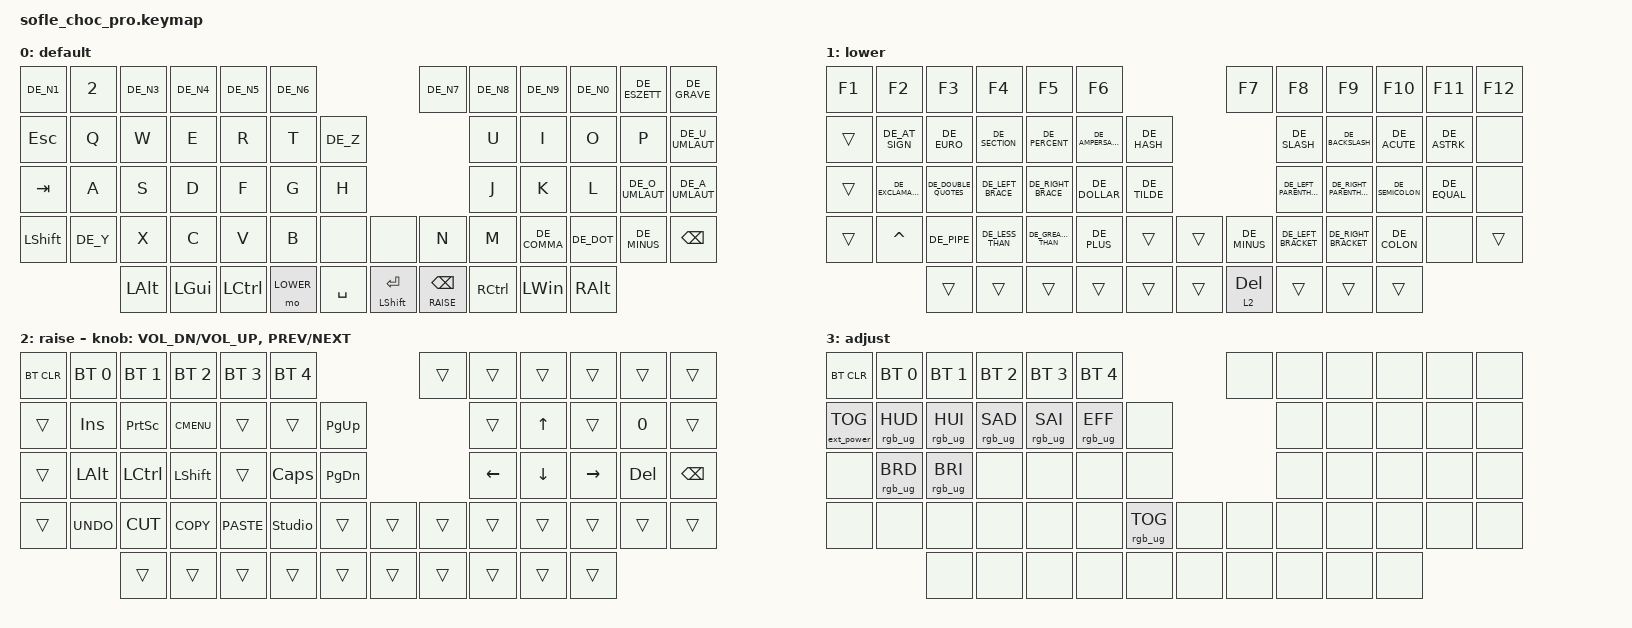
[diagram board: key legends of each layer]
/*
* Copyright (c) 2020 The ZMK Contributors
*
* SPDX-License-Identifier: MIT
*/

#include <behaviors.dtsi>
#include <dt-bindings/zmk/bt.h>
#include <dt-bindings/zmk/ext_power.h>
#include <dt-bindings/zmk/keys.h>
#include <dt-bindings/zmk/rgb.h>
#include "keys_de.h"

#define BASE 0
#define LOWER 1
#define RAISE 2
#define ADJUST 3

/ {
    // Activate ADJUST layer by pressing raise and lower

    conditional_layers {
        compatible = "zmk,conditional-layers";

        adjust_layer {
            if-layers = <LOWER RAISE>;
            then-layer = <ADJUST>;
        };
    };

    behaviors {
        tap_hold: tap_hold {
            compatible = "zmk,behavior-hold-tap";
            label = "tap_hold";
            bindings = <&kp>, <&kp>;

            #binding-cells = <2>;
            tapping-term-ms = <140>;
            flavor = "hold-preferred";
            hold-trigger-key-positions = <55>;
        };

        hold_tap_mod: hold_tap_mod {
            compatible = "zmk,behavior-hold-tap";
            label = "HOLD_TAP_MOD";
            bindings = <&mo>, <&kp>;

            #binding-cells = <2>;
            tapping-term-ms = <140>;
        };
    };

    keymap {
        compatible = "zmk,keymap";

        default_layer {
            display-name = "default";

            // ------------------------------------------------------------------------------------------------------------
            // |   `   |  1  |  2  |  3   |  4   |  5   |                   |  6   |  7    |  8    |  9   |   0   |   `   |
            // |  ESC  |  Q  |  W  |  E   |  R   |  T   |                   |  Y   |  U    |  I    |  O   |   P   | BKSPC |
            // |  TAB  |  A  |  S  |  D   |  F   |  G   |                   |  H   |  J    |  K    |  L   |   ;   |   '   |
            // | SHIFT |  Z  |  X  |  C   |  V   |  B   |  MUTE  |  | PLAY  |  N   |  M    |  ,    |  .   |   /   | SHIFT |
            //               | GUI | ALT  | CTRL | LOWER|  ENTER |  | SPACE | RAISE| CTRL  | ALT   | GUI  |

            bindings = <
&kp DE_N1  &kp N2    &kp DE_N3     &kp DE_N4  &kp DE_N5         &kp DE_N6                                          &kp DE_N7                      &kp DE_N8  &kp DE_N9     &kp DE_N0      &kp DE_ESZETT    &kp DE_GRAVE
&kp ESC    &kp Q     &kp W         &kp E      &kp R             &kp T      &kp DE_Z                                                               &kp U      &kp I         &kp O          &kp P            &kp DE_U_UMLAUT
&kp TAB    &kp A     &kp S         &kp D      &kp F             &kp G      &kp H                                                                  &kp J      &kp K         &kp L          &kp DE_O_UMLAUT  &kp DE_A_UMLAUT
&kp LSHFT  &kp DE_Y  &kp X         &kp C      &kp V             &kp B      &none      &none                        &kp N                          &kp M      &kp DE_COMMA  &kp DE_DOT     &kp DE_MINUS     &kp BACKSPACE
                     &kp LEFT_ALT  &kp LGUI   &kp LEFT_CONTROL  &mo LOWER  &kp SPACE  &tap_hold LEFT_SHIFT RETURN  &hold_tap_mod RAISE BACKSPACE  &kp RCTRL  &kp LEFT_WIN  &kp RIGHT_ALT
            >;
        };

        lower_layer {
            display-name = "lower";

            // ------------------------------------------------------------------------------------------------------------
            // |       |  F1 |  F2 |  F3  |  F4  |  F5  |                   |  F6  |  F7   |  F8   |  F9  |  F10  |  F11  |
            // |   `   |  1  |  2  |  3   |  4   |  5   |                   |  6   |  7    |  8    |  9   |   0   |  F12  |
            // |       |  !  |  @  |  #   |  $   |  %   |                   |  ^   |  &    |  *    |  (   |   )   |   |   |
            // |       |  =  |  -  |  +   |  {   |  }   |        |  |       |  [   |  ]    |  ;    |  :   |   \   |       |
            //               |     |      |      |      |        |  |       |      |       |       |      |

            bindings = <
&kp F1  &kp F2              &kp F3                &kp F4             &kp F5               &kp F6                                  &kp F7                  &kp F8                   &kp F9                    &kp F10           &kp F11       &kp F12
&trans  &kp DE_AT_SIGN      &kp DE_EURO           &kp DE_SECTION     &kp DE_PERCENT       &kp DE_AMPERSAND  &kp DE_HASH                                   &kp DE_SLASH             &kp DE_BACKSLASH          &kp DE_ACUTE      &kp DE_ASTRK  &none
&trans  &kp DE_EXCLAMATION  &kp DE_DOUBLE_QUOTES  &kp DE_LEFT_BRACE  &kp DE_RIGHT_BRACE   &kp DE_DOLLAR     &kp DE_TILDE                                  &kp DE_LEFT_PARENTHESIS  &kp DE_RIGHT_PARENTHESIS  &kp DE_SEMICOLON  &kp DE_EQUAL  &none
&trans  &kp CARET           &kp DE_PIPE           &kp DE_LESS_THAN   &kp DE_GREATER_THAN  &kp DE_PLUS       &trans        &trans  &kp DE_MINUS            &kp DE_LEFT_BRACKET      &kp DE_RIGHT_BRACKET      &kp DE_COLON      &none         &trans
                            &trans                &trans             &trans               &trans            &trans        &trans  &hold_tap_mod 2 DELETE  &trans                   &trans                    &trans
            >;
        };

        raise_layer {
            display-name = "raise";

            // ------------------------------------------------------------------------------------------------------------
            // | BTCLR | BT1  | BT2  |  BT3  |  BT4  |  BT5 |                |      |      |       |      |       |       |
            // |       | INS  | PSCR | GUI   |       |      |                | PGUP |      |   ^   |      |       |       |
            // |       | ALT  | CTRL | SHIFT |       | CAPS |                | PGDN |   <- |   v   |  ->  |  DEL  | BKSPC |
            // |       | UNDO | CUT  | COPY  | PASTE |      |      |  |      |      |      |       |      |       |       |
            //                |      |       |       |      |      |  |      |      |      |       |      |

            bindings = <
&bt BT_CLR  &bt BT_SEL 0  &bt BT_SEL 1  &bt BT_SEL 2  &bt BT_SEL 3  &bt BT_SEL 4                       &trans  &trans    &trans    &trans     &trans   &trans
&trans      &kp INS       &kp PSCRN     &kp K_CMENU   &trans        &trans          &kp PG_UP                  &trans    &kp UP    &trans     &kp N0   &trans
&trans      &kp LALT      &kp LCTRL     &kp LSHFT     &trans        &kp CLCK        &kp PG_DN                  &kp LEFT  &kp DOWN  &kp RIGHT  &kp DEL  &kp BSPC
&trans      &kp K_UNDO    &kp K_CUT     &kp K_COPY    &kp K_PASTE   &studio_unlock  &trans     &trans  &trans  &trans    &trans    &trans     &trans   &trans
                          &trans        &trans        &trans        &trans          &trans     &trans  &trans  &trans    &trans    &trans
            >;

            sensor-bindings = <&inc_dec_kp C_VOL_DN C_VOL_UP &inc_dec_kp C_PREV C_NEXT>;
        };

        adjust_layer {
            // ----------------------------------------------------------------------------------------------------------------------------
            // | BTCLR  |  BT1    |  BT2    |   BT3   |   BT4   |   BT5   |                  |      |      |       |      |       |       |
            // | EXTPWR | RGB_HUD | RGB_HUI | RGB_SAD | RGB_SAI | RGB_EFF |                  |      |      |       |      |       |       |
            // |        | RGB_BRD | RGB_BRI |         |         |         |                  |      |      |       |      |       |       |
            // |        |         |         |         |         |         | RGB_TOG | |      |      |      |       |      |       |       |
            //                    |         |         |         |         |         | |      |      |      |       |      |

            display-name = "adjust";
            bindings = <
&bt BT_CLR         &bt BT_SEL 0     &bt BT_SEL 1     &bt BT_SEL 2     &bt BT_SEL 3     &bt BT_SEL 4                             &none  &none  &none  &none  &none  &none
&ext_power EP_TOG  &rgb_ug RGB_HUD  &rgb_ug RGB_HUI  &rgb_ug RGB_SAD  &rgb_ug RGB_SAI  &rgb_ug RGB_EFF  &none                          &none  &none  &none  &none  &none
&none              &rgb_ug RGB_BRD  &rgb_ug RGB_BRI  &none            &none            &none            &none                          &none  &none  &none  &none  &none
&none              &none            &none            &none            &none            &none            &rgb_ug RGB_TOG  &none  &none  &none  &none  &none  &none  &none
                                    &none            &none            &none            &none            &none            &none  &none  &none  &none  &none
            >;
        };
    };
};
